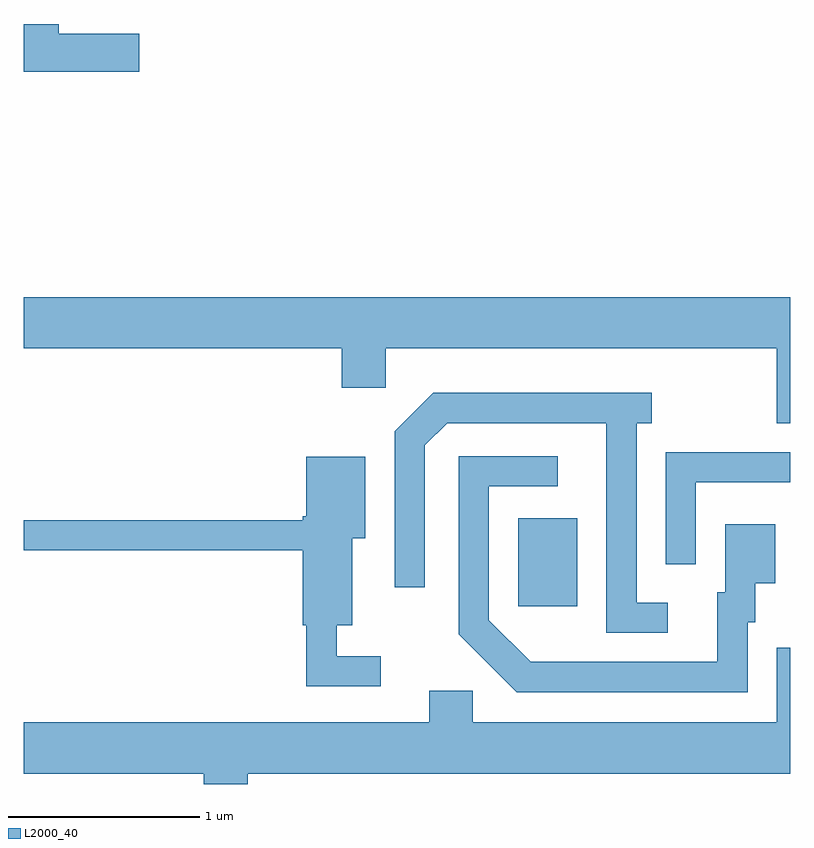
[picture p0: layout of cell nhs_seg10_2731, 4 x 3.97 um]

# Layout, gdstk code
import gdstk
lib = gdstk.Library(unit=1e-6, precision=1e-09)
def R(c, l, rs):  # rectangles x0, y0, x1, y1
    for r in rs: c.add(gdstk.rectangle(r[:2], r[2:], *l))
def P(c, l, *ps):  # polygons
    for p in ps: c.add(gdstk.Polygon(p, *l))
L2000_40 = (2000, 40)

nhs_seg10_2731 = lib.new_cell('nhs_seg10_2731')
R(nhs_seg10_2731, L2000_40, [(268.191,2121.451,268.499,2121.909)])
P(nhs_seg10_2731, L2000_40, [(266.214,2124.439),(265.794,2124.439),(265.794,2124.489),(265.611,2124.489),(265.611,2124.241),(266.214,2124.241)],
  [(269.611,2123.064),(265.611,2123.064),(265.611,2122.796),(267.271,2122.796),(267.271,2122.591),(267.499,2122.591),(267.499,2122.796),(269.541,2122.796),(269.541,2122.406),(269.611,2122.406)],
  [(268.973,2121.469),(268.809,2121.469),(268.809,2122.406),(268.888,2122.406),(268.888,2122.564),(267.749,2122.564),(267.546,2122.362),(267.546,2121.548),(267.704,2121.548),(267.704,2122.289),(267.822,2122.406),(268.651,2122.406),(268.651,2121.311),(268.973,2121.311)],
  [(269.119,2122.096),(269.611,2122.096),(269.611,2122.254),(268.961,2122.254),(268.961,2121.668),(269.119,2121.668)],
  [(269.389,2121.366),(269.429,2121.366),(269.429,2121.571),(269.534,2121.571),(269.534,2121.879),(269.271,2121.879),(269.271,2121.524),(269.231,2121.524),(269.231,2121.159),(268.257,2121.159),(268.039,2121.377),(268.039,2122.076),(268.398,2122.076),(268.398,2122.234),(267.881,2122.234),(267.881,2121.304),(268.184,2121.001),(269.389,2121.001)],
  [(267.473,2121.189),(267.244,2121.189),(267.244,2121.351),(267.324,2121.351),(267.324,2121.806),(267.394,2121.806),(267.394,2122.229),(267.086,2122.229),(267.086,2121.919),(267.066,2121.919),(267.066,2121.899),(265.611,2121.899),(265.611,2121.741),(267.066,2121.741),(267.066,2121.351),(267.086,2121.351),(267.086,2121.031),(267.473,2121.031)],
  [(266.779,2120.576),(269.611,2120.576),(269.611,2121.234),(269.541,2121.234),(269.541,2120.844),(267.954,2120.844),(267.954,2121.009),(267.726,2121.009),(267.726,2120.844),(265.611,2120.844),(265.611,2120.576),(266.551,2120.576),(266.551,2120.522),(266.779,2120.522)])

lib.write_gds('nhs_seg10_2731.gds')
